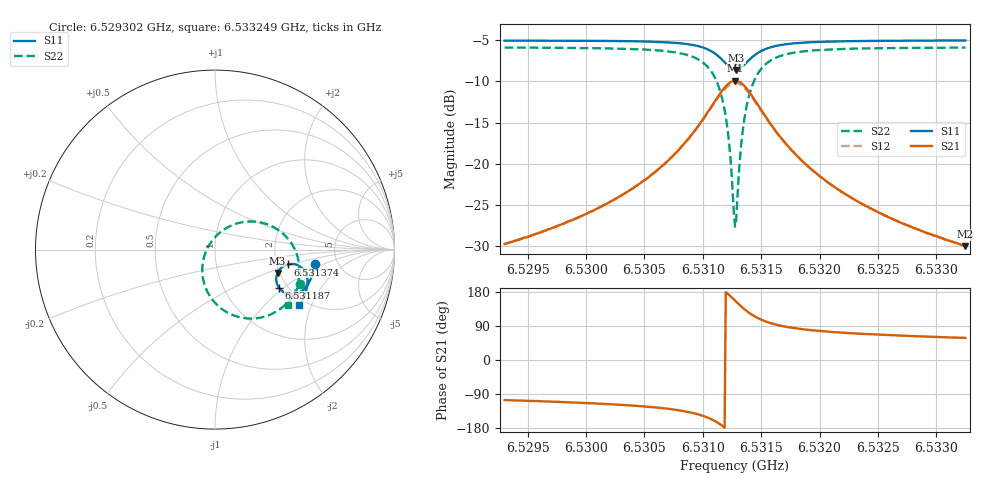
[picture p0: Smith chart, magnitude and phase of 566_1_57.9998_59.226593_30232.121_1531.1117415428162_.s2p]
#  HZ  S  RI  R  50.00
! Rohde & Schwarz Vector Network Analyzer
! Rohde-Schwarz,ZNB20-2Port,1311601062101988,3.16
! Created: UTC 3/21/2024, 1:15:42 AM
! freq[Hz]  re:S11  im:S11  re:S21  im:S21  re:S12  im:S12  re:S22  im:S22
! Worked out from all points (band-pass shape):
!   401 points, 6.529302 GHz to 6.533249 GHz, reference 50 ohm
!   highest |S21| = -9.91 dB at 6.531276 GHz (marker M1); lowest = -30.1 dB at 6.533249 GHz (marker M2)
!   |S21| within 3 dB of the highest: 6.53108 GHz to 6.531474 GHz (394.3 kHz wide, 0.00604 % of centre)
!   lowest |S11| = -8.6 dB at 6.531286 GHz (marker M3), VSWR 2.18, Z = 97.6 - j29.5 ohm
!   |S11| at or under -10 dB: nowhere
!   |S22| runs from -27.7 to -5.9 dB; largest |S21 - S12| = 0.013
!   S11 on the Smith chart (normalised r, x): 6.529302 GHz: 3.35, -0.78; 6.531187 GHz: 1.80, -0.92; 6.531374 GHz: 2.29, -0.46; 6.533249 GHz: 1.82, -1.64
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6.5293024e9  0.5549 -0.0802  -0.00867 -0.0311  -0.00936 -0.0309  0.4722 -0.1899
6.5299634e9  0.5428 -0.1356  -0.0188 -0.0441  -0.0199 -0.0437  0.439 -0.251
6.5303384e9  0.5301 -0.1709  -0.0321 -0.0579  -0.0337 -0.0571  0.404 -0.2949
6.5306245e9  0.5124 -0.2022  -0.0548 -0.0752  -0.0568 -0.0736  0.3536 -0.3377
6.5308515e9  0.4839 -0.2313  -0.0963 -0.0943  -0.0991 -0.0909  0.2694 -0.3755
6.5310192e9  0.4382 -0.2492  -0.1671 -0.0993  -0.1692 -0.0922  0.14 -0.3776
6.5311179e9  0.3919 -0.2419  -0.2385 -0.0701  -0.2373 -0.06  0.0207 -0.3166
6.5311869e9  0.3561 -0.2123  -0.2904 -0.00821  -0.2837 0.00203  -0.0557 -0.2037
6.5312165e9  0.3454 -0.1907  -0.3036 0.0323  -0.2945 0.0409  -0.0701 -0.1346
6.5312659e9  0.3429 -0.1474  -0.2996 0.1098  -0.2878 0.1141  -0.0496 -0.00816
6.5312758e9  0.3453 -0.1387  -0.2941 0.1253  -0.2821 0.1285  -0.038 0.0161
6.5312856e9  0.3485 -0.1301  -0.2869 0.14  -0.2753 0.1421  -0.0241 0.0386
6.5312955e9  0.3527 -0.1221  -0.2786 0.1539  -0.267 0.1549  -0.00808 0.0599
6.531335e9  0.3759 -0.0962  -0.2344 0.1983  -0.2248 0.1959  0.0717 0.1247
6.5313744e9  0.4045 -0.0826  -0.1829 0.2213  -0.1758 0.2174  0.1602 0.154
6.5314435e9  0.4498 -0.0831  -0.1041 0.2215  -0.1006 0.2179  0.2916 0.1409
6.5315422e9  0.4887 -0.1067  -0.0371 0.1873  -0.0356 0.1854  0.3995 0.0687
6.5316902e9  0.5109 -0.1442  0.00218 0.1376  0.00353 0.137  0.4574 -0.0311
6.5319368e9  0.5154 -0.1885  0.0183 0.0895  0.0195 0.0893  0.4706 -0.1311
6.5322427e9  0.5086 -0.2257  0.0206 0.0605  0.0215 0.06  0.4591 -0.199
6.5325979e9  0.4965 -0.2586  0.0194 0.0427  0.0201 0.0424  0.4404 -0.248
6.5332491e9  0.4706 -0.3077  0.0166 0.0267  0.0172 0.0264  0.4056 -0.3067
